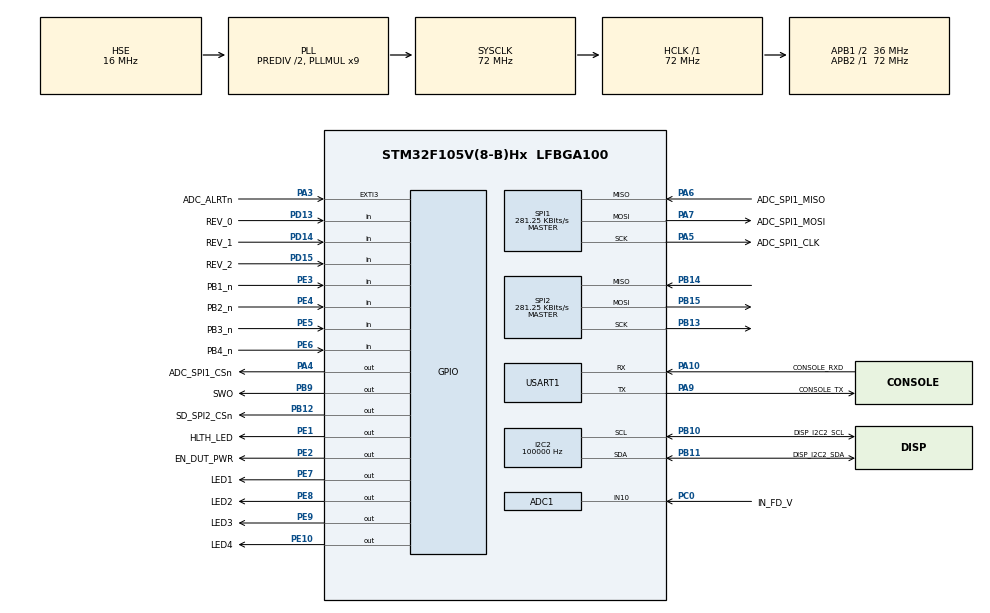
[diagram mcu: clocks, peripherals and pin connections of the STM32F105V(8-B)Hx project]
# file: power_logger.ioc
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ADC1.Channel-0\#ChannelRegularConversion=ADC_CHANNEL_10
ADC1.NbrOfConversionFlag=1
ADC1.Rank-0\#ChannelRegularConversion=1
ADC1.SamplingTime-0\#ChannelRegularConversion=ADC_SAMPLETIME_1CYCLE_5
ADC1.master=1
FATFS._MAX_SS=4096
FATFS._USE_LFN=1
I2C2.ClockSpeed=100000
I2C2.I2C_Mode=I2C_Standard
Mcu.Family=STM32F1
Mcu.Name=STM32F105V(8-B)Hx
Mcu.Package=LFBGA100
NVIC.PriorityGroup=NVIC_PRIORITYGROUP_4
NVIC.TIM6_IRQn=true\:0\:0\:false\:false\:true\:true\:true
OSC_IN.Mode=HSE-External-Oscillator
OSC_IN.Signal=RCC_OSC_IN
OSC_OUT.Mode=HSE-External-Oscillator
OSC_OUT.Signal=RCC_OSC_OUT
PA10.GPIO_Label=CONSOLE_RXD
PA10.Mode=Asynchronous
PA10.Signal=USART1_RX
PA13.GPIO_Label=SWDIO
PA13.Mode=Trace_Asynchronous_SW
PA13.Signal=SYS_JTMS-SWDIO
PA14.GPIO_Label=SWCLK
PA14.Mode=Trace_Asynchronous_SW
PA14.Signal=SYS_JTCK-SWCLK
PA3.GPIO_Label=ADC_ALRTn
PA3.GPIO_ModeDefaultEXTI=GPIO_MODE_IT_FALLING
PA3.Signal=GPXTI3
PA4.GPIO_Label=ADC_SPI1_CSn
PA4.Signal=GPIO_Output
PA5.GPIO_Label=ADC_SPI1_CLK
PA5.Mode=Full_Duplex_Master
PA5.Signal=SPI1_SCK
PA6.GPIO_Label=ADC_SPI1_MISO
PA6.Mode=Full_Duplex_Master
PA6.Signal=SPI1_MISO
PA7.GPIO_Label=ADC_SPI1_MOSI
PA7.Mode=Full_Duplex_Master
PA7.Signal=SPI1_MOSI
PA9.GPIO_Label=CONSOLE_TX
PA9.Mode=Asynchronous
PA9.Signal=USART1_TX
PB10.GPIO_Label=DISP_I2C2_SCL
PB10.GPIO_Pu=GPIO_PULLUP
PB10.Mode=I2C
PB10.Signal=I2C2_SCL
PB11.GPIO_Label=DISP_I2C2_SDA
PB11.GPIO_Pu=GPIO_PULLUP
PB11.Mode=I2C
PB11.Signal=I2C2_SDA
PB12.GPIO_Label=SD_SPI2_CSn
PB12.GPIO_Speed=GPIO_SPEED_FREQ_HIGH
PB12.Signal=GPIO_Output
PB13.GPIO_Mode=GPIO_MODE_AF_PP
PB13.GPIO_Speed=GPIO_SPEED_FREQ_HIGH
PB13.Mode=Full_Duplex_Master
PB13.Signal=SPI2_SCK
PB14.GPIO_Mode=GPIO_MODE_INPUT
PB14.GPIO_PuPd=GPIO_NOPULL
PB14.Mode=Full_Duplex_Master
PB14.Signal=SPI2_MISO
PB15.GPIO_Mode=GPIO_MODE_AF_PP
PB15.GPIO_Speed=GPIO_SPEED_FREQ_HIGH
PB15.Mode=Full_Duplex_Master
PB15.Signal=SPI2_MOSI
PB3.Mode=Trace_Asynchronous_SW
PB3.Signal=SYS_TRACESWO
PB9.GPIO_Label=SWO
PB9.Signal=GPIO_Output
PC0.GPIO_Label=IN_FD_V
PC0.GPIO_Mode=GPIO_MODE_ANALOG
PC0.Signal=ADCx_IN10
PD13.GPIO_Label=REV_0
PD13.Signal=GPIO_Input
PD14.GPIO_Label=REV_1
PD14.Signal=GPIO_Input
PD15.GPIO_Label=REV_2
PD15.Signal=GPIO_Input
PE1.GPIO_Label=HLTH_LED
PE1.GPIO_ModeDefaultOutputPP=GPIO_MODE_OUTPUT_OD
PE1.GPIO_Speed=GPIO_SPEED_FREQ_LOW
PE1.Signal=GPIO_Output
PE10.GPIO_Label=LED4
PE10.Signal=GPIO_Output
PE2.GPIO_Label=EN_DUT_PWR
PE2.Signal=GPIO_Output
PE3.GPIO_Label=PB1_n
PE3.Signal=GPIO_Input
PE4.GPIO_Label=PB2_n
PE4.Signal=GPIO_Input
PE5.GPIO_Label=PB3_n
PE5.Signal=GPIO_Input
PE6.GPIO_Label=PB4_n
PE6.Signal=GPIO_Input
PE7.GPIO_Label=LED1
PE7.Signal=GPIO_Output
PE8.GPIO_Label=LED2
PE8.Signal=GPIO_Output
PE9.GPIO_Label=LED3
PE9.Signal=GPIO_Output
ProjectManager.HeapSize=0x200
ProjectManager.StackSize=0x400
ProjectManager.TargetToolchain=STM32CubeIDE
RCC.ADCPresc=RCC_ADCPCLK2_DIV6
RCC.AHBFreq_Value=72000000
RCC.APB1CLKDivider=RCC_HCLK_DIV2
RCC.APB1Freq_Value=36000000
RCC.APB1TimFreq_Value=72000000
RCC.APB2Freq_Value=72000000
RCC.APB2TimFreq_Value=72000000
RCC.HCLKFreq_Value=72000000
RCC.HSEDivPLL=RCC_HSE_PREDIV_DIV2
RCC.HSE_VALUE=16000000
RCC.PLLMUL=RCC_PLL_MUL9
RCC.PLLSourceVirtual=RCC_PLLSOURCE_HSE
RCC.SYSCLKFreq_VALUE=72000000
RCC.SYSCLKSource=RCC_SYSCLKSOURCE_PLLCLK
RCC.USBFreq_Value=48000000
SH.ADCx_IN10.0=ADC1_IN10,IN10
SPI1.BaudRatePrescaler=SPI_BAUDRATEPRESCALER_256
SPI1.CLKPhase=SPI_PHASE_1EDGE
SPI1.CalculateBaudRate=281.25 KBits/s
SPI1.Direction=SPI_DIRECTION_2LINES
SPI1.Mode=SPI_MODE_MASTER
SPI1.VirtualType=VM_MASTER
SPI2.BaudRatePrescaler=SPI_BAUDRATEPRESCALER_128
SPI2.CalculateBaudRate=281.25 KBits/s
SPI2.Direction=SPI_DIRECTION_2LINES
SPI2.Mode=SPI_MODE_MASTER
SPI2.VirtualType=VM_MASTER
TIM2.Channel-Output\ Compare1\ No\ Output=TIM_CHANNEL_1
TIM2.Prescaler=71
TIM3.Channel-Output\ Compare1\ No\ Output=TIM_CHANNEL_1
TIM3.Prescaler=71
TIM6.AutoReloadPreload=TIM_AUTORELOAD_PRELOAD_ENABLE
TIM6.Period=720-1
TIM6.Prescaler=1000-1
USART1.VirtualMode=VM_ASYNC
VP_FATFS_VS_Generic.Mode=User_defined
VP_TIM2_VS_ClockSourceINT.Mode=Internal
VP_TIM2_VS_no_output1.Mode=Output Compare1 No Output
VP_TIM3_VS_no_output1.Mode=Output Compare1 No Output
VP_TIM6_VS_ClockSourceINT.Mode=Enable_Timer
board=custom

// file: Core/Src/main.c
/* USER CODE BEGIN Header */
/**
  ******************************************************************************
  * @file           : main.c
  * @brief          : Main program body
  ******************************************************************************
  * @attention
  *
  * <h2><center>&copy; Copyright (c) 2021 STMicroelectronics.
  * All rights reserved.</center></h2>
  *
  * This software component is licensed by ST under BSD 3-Clause license,
  * the "License"; You may not use this file except in compliance with the
  * License. You may obtain a copy of the License at:
  *                        opensource.org/licenses/BSD-3-Clause
  *
  * TODO finish --> switch (btn.button_press_status
  *
  ******************************************************************************
  */
/* USER CODE END Header */
#include "main.h"
#include "fatfs.h"

/* USER CODE BEGIN PTD */
struct timing       time;
struct oled         oled;
struct buttonStruct btn;
ad4681Data          a2d;
errorCode           err_code;
AppState            current_state = STATE_IDLE;

/* USER CODE END PTD */

/* USER CODE BEGIN PD */

#define LOGO_HEIGHT   16
#define LOGO_WIDTH    16

static const unsigned char logo_bmp[] =
{ 0b00000000, 0b11000000,
  0b00000001, 0b11000000,
  0b00000001, 0b11000000,
  0b00000011, 0b11100000,
  0b11110011, 0b11100000,
  0b11111110, 0b11111000,
  0b01111110, 0b11111111,
  0b00110011, 0b10011111,
  0b00011111, 0b11111100,
  0b00001101, 0b01110000,
  0b00011011, 0b10100000,
  0b00111111, 0b11100000,
  0b00111111, 0b11110000,
  0b01111100, 0b11110000,
  0b01110000, 0b01110000,
  0b00000000, 0b00110000 };

/* USER CODE END PD */

ADC_HandleTypeDef hadc1;

I2C_HandleTypeDef hi2c2;

SPI_HandleTypeDef hspi1;
SPI_HandleTypeDef hspi2;

TIM_HandleTypeDef htim2;
TIM_HandleTypeDef htim3;
TIM_HandleTypeDef htim6;

UART_HandleTypeDef huart1;

void SystemClock_Config(void);
static void MX_GPIO_Init(void);
static void MX_ADC1_Init(void);
static void MX_I2C2_Init(void);
static void MX_USART1_UART_Init(void);
static void MX_SPI1_Init(void);
static void MX_TIM2_Init(void);
static void MX_SPI2_Init(void);
static void MX_TIM3_Init(void);
static void MX_TIM6_Init(void);

/* USER CODE BEGIN 0 */

/**
 * @brief This function overwrites the
 * lower-level function that printf()
 * leverages for the purpose of
 * redirecting printf() output
 * to the SWV Data console. This allows
 * printf() data to be printed to the SWV
 * console during debugging
 *
 * @param ptr -- Point to data that is
 *              to be printed
 *              to the screen
 * @param len -- character passed in
 */
int _write(int file, char *ptr, int len)
 {
	 int DataIdx;
	 for (DataIdx = 0; DataIdx < len; DataIdx++)
	 {
		 ITM_SendChar(*ptr++);
	 }
	 return len;
 }

/* USER CODE END 0 */

int main(void)
{

  /* MCU Configuration--------------------------------------------------------*/

  /* Reset of all peripherals, Initializes the Flash interface and the Systick. */
  HAL_Init();

  /* USER CODE BEGIN Init */

  /* Configure time keeping flags */
  time.led_fast_blink = false;
  time.flag_10ms_tick = false;
  time.flag_100ms_tick = false;
  time.flag_500ms_tick = false;

  /* Configure button-related flags */
  btn.up_btn_press_ctr = 0;
  btn.rt_btn_press_ctr = 0;
  btn.dn_btn_press_ctr = 0;
  btn.lt_btn_press_ctr = 0;

  btn.button_press_status = NO_BTN_PUSHED;

  /* USER CODE END Init */

  /* Configure the system clock */
  SystemClock_Config();

  /* Initialize all configured peripherals */
  MX_GPIO_Init();
  MX_ADC1_Init();
  MX_I2C2_Init();
  MX_FATFS_Init();
  MX_USART1_UART_Init();
  MX_SPI1_Init();
  MX_TIM2_Init();
  MX_SPI2_Init();
  MX_TIM3_Init();
  MX_TIM6_Init();
  /* USER CODE BEGIN 2 */

  // print_string("Chip Reset.",LF);
  // print_16b_binary_rep(255,LF);
  // print_float(3.14159,LF);

//  HAL_TIM_Base_Start(&htim2);			// Start timer #2 for us delay timer
  HAL_TIM_Base_Start_IT(&htim6);
//  init_ad4681 ( &a2d );                 // Initialize the A2D

/**
 * Display
 * TODO Display Test Start
 */

  //TODO Display test code
  setFont(&FreeSans9pt7b);
  setTextSize(1,1);             // 21 characters per line
  display_oled_init(SSD1306_SWITCHCAPVCC, SCREEN_WIDTH, SCREEN_HEIGHT);
  updateDisplay();
  // HAL_Delay(1000);

  // setCursor(0,15);
  // writeOledString("Print Float...\n", SSD1306_WHITE);
  // writeOledFloat(3.1415, SSD1306_WHITE);
  // updateDisplay();
  // HAL_Delay(2500);

  // oled_clear_buffer();
  // setCursor(0,15);
  // // writeOledString(" \n", SSD1306_WHITE);
  // writeOledString("Hello Awesome\n", SSD1306_WHITE);
  // writeOledString("World!", SSD1306_WHITE);
  // updateDisplay();

  // HAL_Delay(2500);
  oled_clear_buffer();
  setCursor(0,15);
  writeOledString("Let's Go\n", SSD1306_WHITE);
  writeOledString("Brandon!!", SSD1306_WHITE);
  updateDisplay();
  HAL_Delay(1000);
  /**
   * TODO END Display Test Code
   *
   */

  //TODO START A2D Test Code
  /**
   * Initialization for the
   * A2D IC
  */
  HAL_GPIO_WritePin(ADC_SPI1_CSn_GPIO_Port, ADC_SPI1_CSn_Pin, GPIO_PIN_SET);
  HAL_Delay(1);
  init_ad4681(&a2d);
  HAL_GPIO_WritePin(EN_DUT_PWR_GPIO_Port, EN_DUT_PWR_Pin, GPIO_PIN_SET);  //TODO turning the relay on here for test
  // get_ad4681_samples( &a2d );

  // setCursor(0,15);
  // writeOledString("Volt: ", SSD1306_WHITE);
  // writeOledFloat(a2d.voltage_f, SSD1306_WHITE);
  // writeOledString("\n", SSD1306_WHITE);
  // writeOledString("Curr: ", SSD1306_WHITE);
  // writeOledFloat(a2d.current_f, SSD1306_WHITE);
  // updateDisplay();
  //TODO END A2D Test Code

//  oled.current_screen = SCREEN_MAIN;
  err_code.error_code = NO_ERROR;

  /**
   * TODO Begin SD CARD TEST
   *
   * In the following block of code we are testing
   * the ability to write to the SD card
  */

  //some variables for FatFs
  FATFS fs; 	//Fatfs handle
  FIL fil; 		//File handle
  FRESULT fres; //Result after operations

  HAL_Delay(500);
  fres = f_mount(&fs, "", 0);
  if (fres != FR_OK) {
    // err_code.error_code = fres;       //Look this up in ff.h!
    err_code.error_code = 1;       //Look this up in ff.h!
    Error_Handler ();
  }
  // Now let's try to open file "test.txt"
  fres = f_open(&fil, "test.txt", FA_OPEN_ALWAYS | FA_WRITE | FA_READ);
  if (fres != FR_OK) {
      // err_code.error_code = fes;       //Look this up in ff.h!
      err_code.error_code = 2;       //Look this up in ff.h!
      Error_Handler ();
  }

  // Find the appropriate location to write in the file
  fres = f_lseek(&fil, fil.fsize);
  if (fres != FR_OK) {
      // err_code.error_code = fres;       //Look this up in ff.h!
      err_code.error_code = 3;       //Look this up in ff.h!
      Error_Handler ();
  }

  /**
   * Write a line to the file.
   * Returns EOF, not FRESULT!
   */
  f_puts("Hello from CJG!!\n", &fil);

  /* Close the file  */
  f_close(&fil);

  /**
   * Controllers Tech
   * Read From SD Card
   */

  /* Read from the SD card */
  char sd_rd_buff[100];

  fres = f_open(&fil, "read.txt", FA_READ);
  if (fres != FR_OK) {
      // err_code.error_code = fres;       //Look this up in ff.h!
      err_code.error_code = 50;       //Look this up in ff.h!
      Error_Handler ();
  }

 /* Read the data from the file */
  f_gets(sd_rd_buff, sizeof(sd_rd_buff), &fil);

  /* Now close the file after read */
  f_close(&fil);

  /* Print what was read from the buffer */
  oled_clear_buffer();
  setCursor(0,15);
  writeOledString("Read: \n", SSD1306_WHITE);
  writeOledString(sd_rd_buff, SSD1306_WHITE);
  updateDisplay();
  HAL_Delay(3000);

  /**
   * Let's get from statistics from
   * the SD card.
   * Source is Nizar Mohideen, but
   * identical to Controller Tech
   */
  FATFS *pfs;
  DWORD fre_clust;
  uint32_t totalSpace, freeSpace;

  f_getfree("", &fre_clust, &pfs);
  totalSpace = (uint32_t)((pfs->n_fatent - 2) * pfs->csize * 0.5);
  freeSpace = (uint32_t)(fre_clust * pfs->csize * 0.5);

  /* Print what was read from the buffer */
  oled_clear_buffer();
  setCursor(0,15);
  writeOledString("TS: ", SSD1306_WHITE);  writeOledDword(totalSpace, SSD1306_WHITE); writeOledString("\n", SSD1306_WHITE);
  writeOledString("FS: ", SSD1306_WHITE); writeOledDword(freeSpace, SSD1306_WHITE); writeOledString("\n", SSD1306_WHITE);
  updateDisplay();
  HAL_Delay(3000);

 /**
  * TODO END of SD CARD TEST
  * This is the ending block
  * where we have tested writing to
  * the SD card
  */

  /**
   */
  // TODO need to define bitmap image, screen width, and splash screen dimensions
  // display_oled_drawBitmap((oled.screen_width - BITMAP_WIDTH) / 2, (oled.screen_height - BITMAP_HEIGHT) / 2,
  //             oled.splash_screen_data, oled.splash_screen_width, oled.splash_screen_height, 1);

  // display_oled_drawBitmap(
  //   (oled.screen_width  - LOGO_WIDTH ) / 2,
  //   (oled.screen_height - LOGO_HEIGHT) / 2,
  //   logo_bmp, LOGO_WIDTH, LOGO_HEIGHT, 1);

  /* USER CODE END 2 */

  /* Infinite loop */
  /* USER CODE BEGIN WHILE */
  while (1)
  {

    if(time.flag_10ms_tick) {
      time.flag_10ms_tick = false;

      //TODO the following line is for testing only
//      HAL_I2C_Master_Transmit(&hi2c2, OLED_SCREEN_ADDRESS, (uint8_t *)0x00, 1, 10000);

      /* Grab Sensor Data */
      // get_ad4681_samples( &a2d );

      /* Log Sensor Data */
      // log_samples();

      /* Evaluate Button Inputs */
      // evaluate_button_inputs();

    }

    if(time.flag_100ms_tick) {
      time.flag_100ms_tick = false;

      /* Update Display */
      // update_screen();
    }

    if(time.flag_500ms_tick) {
      time.flag_500ms_tick = false;
      HAL_GPIO_TogglePin(HLTH_LED_GPIO_Port, HLTH_LED_Pin);
      // printf("Hello World!");
      get_ad4681_samples( &a2d );

      // oled_clear_buffer();
      // setCursor(0,15);
      // writeOledString("V: ", SSD1306_WHITE);
      // writeOledFloat(a2d.voltage_f, SSD1306_WHITE);
      // writeOledString("\n", SSD1306_WHITE);

      // writeOledString("A: ", SSD1306_WHITE);
      // writeOledFloat(a2d.current_f, SSD1306_WHITE);
      // writeOledString("\n", SSD1306_WHITE);
      // updateDisplay();

      //TODO when it comes time to toggle the relay, the following works!
      // if(HAL_GPIO_ReadPin(EN_DUT_PWR_GPIO_Port, EN_DUT_PWR_Pin)){
      //   HAL_GPIO_WritePin(EN_DUT_PWR_GPIO_Port, EN_DUT_PWR_Pin, GPIO_PIN_RESET);  //TODO this will deenergize the relying
      // }

      // else if(!HAL_GPIO_ReadPin(EN_DUT_PWR_GPIO_Port, EN_DUT_PWR_Pin)) {
      //   HAL_GPIO_WritePin(EN_DUT_PWR_GPIO_Port, EN_DUT_PWR_Pin, GPIO_PIN_SET);  //TODO this will throw the relay
      // }

    }
    // HAL_Delay(1000);
    // HAL_GPIO_TogglePin(EN_DUT_PWR_GPIO_Port, EN_DUT_PWR_Pin);  //TODO this works for toggling the relay!!

    /* USER CODE END WHILE */

  }
}

void SystemClock_Config(void)
{
  RCC_OscInitTypeDef RCC_OscInitStruct = {0};
  RCC_ClkInitTypeDef RCC_ClkInitStruct = {0};
  RCC_PeriphCLKInitTypeDef PeriphClkInit = {0};

  /** Initializes the RCC Oscillators according to the specified parameters
  * in the RCC_OscInitTypeDef structure.
  */
  RCC_OscInitStruct.OscillatorType = RCC_OSCILLATORTYPE_HSE;
  RCC_OscInitStruct.HSEState = RCC_HSE_ON;
  RCC_OscInitStruct.HSEPredivValue = RCC_HSE_PREDIV_DIV2;
  RCC_OscInitStruct.HSIState = RCC_HSI_ON;
  RCC_OscInitStruct.Prediv1Source = RCC_PREDIV1_SOURCE_HSE;
  RCC_OscInitStruct.PLL.PLLState = RCC_PLL_ON;
  RCC_OscInitStruct.PLL.PLLSource = RCC_PLLSOURCE_HSE;
  RCC_OscInitStruct.PLL.PLLMUL = RCC_PLL_MUL9;
  RCC_OscInitStruct.PLL2.PLL2State = RCC_PLL_NONE;
  if (HAL_RCC_OscConfig(&RCC_OscInitStruct) != HAL_OK)
  {
    Error_Handler();
  }
  /** Initializes the CPU, AHB and APB buses clocks
  */
  RCC_ClkInitStruct.ClockType = RCC_CLOCKTYPE_HCLK|RCC_CLOCKTYPE_SYSCLK
                              |RCC_CLOCKTYPE_PCLK1|RCC_CLOCKTYPE_PCLK2;
  RCC_ClkInitStruct.SYSCLKSource = RCC_SYSCLKSOURCE_PLLCLK;
  RCC_ClkInitStruct.AHBCLKDivider = RCC_SYSCLK_DIV1;
  RCC_ClkInitStruct.APB1CLKDivider = RCC_HCLK_DIV2;
  RCC_ClkInitStruct.APB2CLKDivider = RCC_HCLK_DIV1;

  if (HAL_RCC_ClockConfig(&RCC_ClkInitStruct, FLASH_LATENCY_2) != HAL_OK)
  {
    Error_Handler();
  }
  PeriphClkInit.PeriphClockSelection = RCC_PERIPHCLK_ADC;
  PeriphClkInit.AdcClockSelection = RCC_ADCPCLK2_DIV6;
  if (HAL_RCCEx_PeriphCLKConfig(&PeriphClkInit) != HAL_OK)
  {
    Error_Handler();
  }
  /** Configure the Systick interrupt time
  */
  __HAL_RCC_PLLI2S_ENABLE();
}

static void MX_ADC1_Init(void)
{

  ADC_ChannelConfTypeDef sConfig = {0};

  /** Common config
  */
  hadc1.Instance = ADC1;
  hadc1.Init.ScanConvMode = ADC_SCAN_DISABLE;
  hadc1.Init.ContinuousConvMode = DISABLE;
  hadc1.Init.DiscontinuousConvMode = DISABLE;
  hadc1.Init.ExternalTrigConv = ADC_SOFTWARE_START;
  hadc1.Init.DataAlign = ADC_DATAALIGN_RIGHT;
  hadc1.Init.NbrOfConversion = 1;
  if (HAL_ADC_Init(&hadc1) != HAL_OK)
  {
    Error_Handler();
  }
  /** Configure Regular Channel
  */
  sConfig.Channel = ADC_CHANNEL_10;
  sConfig.Rank = ADC_REGULAR_RANK_1;
  sConfig.SamplingTime = ADC_SAMPLETIME_1CYCLE_5;
  if (HAL_ADC_ConfigChannel(&hadc1, &sConfig) != HAL_OK)
  {
    Error_Handler();
  }

}

static void MX_I2C2_Init(void)
{

  hi2c2.Instance = I2C2;
  hi2c2.Init.ClockSpeed = 100000;
  hi2c2.Init.DutyCycle = I2C_DUTYCYCLE_2;
  hi2c2.Init.OwnAddress1 = 0;
  hi2c2.Init.AddressingMode = I2C_ADDRESSINGMODE_7BIT;
  hi2c2.Init.DualAddressMode = I2C_DUALADDRESS_DISABLE;
  hi2c2.Init.OwnAddress2 = 0;
  hi2c2.Init.GeneralCallMode = I2C_GENERALCALL_DISABLE;
  hi2c2.Init.NoStretchMode = I2C_NOSTRETCH_DISABLE;
  if (HAL_I2C_Init(&hi2c2) != HAL_OK)
  {
    Error_Handler();
  }

}

static void MX_SPI1_Init(void)
{

  /* SPI1 parameter configuration*/
  hspi1.Instance = SPI1;
  hspi1.Init.Mode = SPI_MODE_MASTER;
  hspi1.Init.Direction = SPI_DIRECTION_2LINES;
  hspi1.Init.DataSize = SPI_DATASIZE_8BIT;
  hspi1.Init.CLKPolarity = SPI_POLARITY_LOW;
  hspi1.Init.CLKPhase = SPI_PHASE_1EDGE;
  hspi1.Init.NSS = SPI_NSS_SOFT;
  hspi1.Init.BaudRatePrescaler = SPI_BAUDRATEPRESCALER_256;
  hspi1.Init.FirstBit = SPI_FIRSTBIT_MSB;
  hspi1.Init.TIMode = SPI_TIMODE_DISABLE;
  hspi1.Init.CRCCalculation = SPI_CRCCALCULATION_DISABLE;
  hspi1.Init.CRCPolynomial = 10;
  if (HAL_SPI_Init(&hspi1) != HAL_OK)
  {
    Error_Handler();
  }

}

static void MX_SPI2_Init(void)
{

  /* SPI2 parameter configuration*/
  hspi2.Instance = SPI2;
  hspi2.Init.Mode = SPI_MODE_MASTER;
  hspi2.Init.Direction = SPI_DIRECTION_2LINES;
  hspi2.Init.DataSize = SPI_DATASIZE_8BIT;
  hspi2.Init.CLKPolarity = SPI_POLARITY_LOW;
  hspi2.Init.CLKPhase = SPI_PHASE_1EDGE;
  hspi2.Init.NSS = SPI_NSS_SOFT;
  hspi2.Init.BaudRatePrescaler = SPI_BAUDRATEPRESCALER_128;
  hspi2.Init.FirstBit = SPI_FIRSTBIT_MSB;
  hspi2.Init.TIMode = SPI_TIMODE_DISABLE;
  hspi2.Init.CRCCalculation = SPI_CRCCALCULATION_DISABLE;
  hspi2.Init.CRCPolynomial = 10;
  if (HAL_SPI_Init(&hspi2) != HAL_OK)
  {
    Error_Handler();
  }

}

static void MX_TIM2_Init(void)
{

  TIM_ClockConfigTypeDef sClockSourceConfig = {0};
  TIM_MasterConfigTypeDef sMasterConfig = {0};
  TIM_OC_InitTypeDef sConfigOC = {0};

  htim2.Instance = TIM2;
  htim2.Init.Prescaler = 71;
  htim2.Init.CounterMode = TIM_COUNTERMODE_UP;
  htim2.Init.Period = 65535;
  htim2.Init.ClockDivision = TIM_CLOCKDIVISION_DIV1;
  htim2.Init.AutoReloadPreload = TIM_AUTORELOAD_PRELOAD_DISABLE;
  if (HAL_TIM_Base_Init(&htim2) != HAL_OK)
  {
    Error_Handler();
  }
  sClockSourceConfig.ClockSource = TIM_CLOCKSOURCE_INTERNAL;
  if (HAL_TIM_ConfigClockSource(&htim2, &sClockSourceConfig) != HAL_OK)
  {
    Error_Handler();
  }
  if (HAL_TIM_OC_Init(&htim2) != HAL_OK)
  {
    Error_Handler();
  }
  sMasterConfig.MasterOutputTrigger = TIM_TRGO_RESET;
  sMasterConfig.MasterSlaveMode = TIM_MASTERSLAVEMODE_DISABLE;
  if (HAL_TIMEx_MasterConfigSynchronization(&htim2, &sMasterConfig) != HAL_OK)
  {
    Error_Handler();
  }
  sConfigOC.OCMode = TIM_OCMODE_TIMING;
  sConfigOC.Pulse = 0;
  sConfigOC.OCPolarity = TIM_OCPOLARITY_HIGH;
  sConfigOC.OCFastMode = TIM_OCFAST_DISABLE;
  if (HAL_TIM_OC_ConfigChannel(&htim2, &sConfigOC, TIM_CHANNEL_1) != HAL_OK)
  {
    Error_Handler();
  }

}

static void MX_TIM3_Init(void)
{

  TIM_MasterConfigTypeDef sMasterConfig = {0};
  TIM_OC_InitTypeDef sConfigOC = {0};

  htim3.Instance = TIM3;
  htim3.Init.Prescaler = 71;
  htim3.Init.CounterMode = TIM_COUNTERMODE_UP;
  htim3.Init.Period = 65535;
  htim3.Init.ClockDivision = TIM_CLOCKDIVISION_DIV1;
  htim3.Init.AutoReloadPreload = TIM_AUTORELOAD_PRELOAD_DISABLE;
  if (HAL_TIM_OC_Init(&htim3) != HAL_OK)
  {
    Error_Handler();
  }
  sMasterConfig.MasterOutputTrigger = TIM_TRGO_RESET;
  sMasterConfig.MasterSlaveMode = TIM_MASTERSLAVEMODE_DISABLE;
  if (HAL_TIMEx_MasterConfigSynchronization(&htim3, &sMasterConfig) != HAL_OK)
  {
    Error_Handler();
  }
  sConfigOC.OCMode = TIM_OCMODE_TIMING;
  sConfigOC.Pulse = 0;
  sConfigOC.OCPolarity = TIM_OCPOLARITY_HIGH;
  sConfigOC.OCFastMode = TIM_OCFAST_DISABLE;
  if (HAL_TIM_OC_ConfigChannel(&htim3, &sConfigOC, TIM_CHANNEL_1) != HAL_OK)
  {
    Error_Handler();
  }

}

static void MX_TIM6_Init(void)
{

  TIM_MasterConfigTypeDef sMasterConfig = {0};

  htim6.Instance = TIM6;
  htim6.Init.Prescaler = 1000-1;
  htim6.Init.CounterMode = TIM_COUNTERMODE_UP;
  htim6.Init.Period = 720-1;
  htim6.Init.AutoReloadPreload = TIM_AUTORELOAD_PRELOAD_ENABLE;
  if (HAL_TIM_Base_Init(&htim6) != HAL_OK)
  {
    Error_Handler();
  }
  sMasterConfig.MasterOutputTrigger = TIM_TRGO_RESET;
  sMasterConfig.MasterSlaveMode = TIM_MASTERSLAVEMODE_DISABLE;
  if (HAL_TIMEx_MasterConfigSynchronization(&htim6, &sMasterConfig) != HAL_OK)
  {
    Error_Handler();
  }

}

static void MX_USART1_UART_Init(void)
{

  huart1.Instance = USART1;
  huart1.Init.BaudRate = 115200;
  huart1.Init.WordLength = UART_WORDLENGTH_8B;
  huart1.Init.StopBits = UART_STOPBITS_1;
  huart1.Init.Parity = UART_PARITY_NONE;
  huart1.Init.Mode = UART_MODE_TX_RX;
  huart1.Init.HwFlowCtl = UART_HWCONTROL_NONE;
  huart1.Init.OverSampling = UART_OVERSAMPLING_16;
  if (HAL_UART_Init(&huart1) != HAL_OK)
  {
    Error_Handler();
  }

}

static void MX_GPIO_Init(void)
{
  GPIO_InitTypeDef GPIO_InitStruct = {0};

  /* GPIO Ports Clock Enable */
  __HAL_RCC_GPIOE_CLK_ENABLE();
  __HAL_RCC_GPIOB_CLK_ENABLE();
  __HAL_RCC_GPIOA_CLK_ENABLE();
  __HAL_RCC_GPIOC_CLK_ENABLE();
  __HAL_RCC_GPIOD_CLK_ENABLE();

  /*Configure GPIO pin Output Level */
  HAL_GPIO_WritePin(GPIOE, EN_DUT_PWR_Pin|HLTH_LED_Pin|LED4_Pin|LED1_Pin
                          |LED2_Pin|LED3_Pin, GPIO_PIN_RESET);

  /*Configure GPIO pin Output Level */
  HAL_GPIO_WritePin(GPIOB, SWO_Pin|SD_SPI2_CSn_Pin, GPIO_PIN_RESET);

  /*Configure GPIO pin Output Level */
  HAL_GPIO_WritePin(ADC_SPI1_CSn_GPIO_Port, ADC_SPI1_CSn_Pin, GPIO_PIN_RESET);

  /*Configure GPIO pins : EN_DUT_PWR_Pin LED4_Pin LED1_Pin LED2_Pin
                           LED3_Pin */
  GPIO_InitStruct.Pin = EN_DUT_PWR_Pin|LED4_Pin|LED1_Pin|LED2_Pin
                          |LED3_Pin;
  GPIO_InitStruct.Mode = GPIO_MODE_OUTPUT_PP;
  GPIO_InitStruct.Pull = GPIO_NOPULL;
  GPIO_InitStruct.Speed = GPIO_SPEED_FREQ_LOW;
  HAL_GPIO_Init(GPIOE, &GPIO_InitStruct);

  /*Configure GPIO pin : SWO_Pin */
  GPIO_InitStruct.Pin = SWO_Pin;
  GPIO_InitStruct.Mode = GPIO_MODE_OUTPUT_PP;
  GPIO_InitStruct.Pull = GPIO_NOPULL;
  GPIO_InitStruct.Speed = GPIO_SPEED_FREQ_LOW;
  HAL_GPIO_Init(SWO_GPIO_Port, &GPIO_InitStruct);

  /*Configure GPIO pins : PB1_n_Pin PB2_n_Pin PB3_n_Pin PB4_n_Pin */
  GPIO_InitStruct.Pin = PB1_n_Pin|PB2_n_Pin|PB3_n_Pin|PB4_n_Pin;
  GPIO_InitStruct.Mode = GPIO_MODE_INPUT;
  GPIO_InitStruct.Pull = GPIO_NOPULL;
  HAL_GPIO_Init(GPIOE, &GPIO_InitStruct);

  /*Configure GPIO pin : HLTH_LED_Pin */
  GPIO_InitStruct.Pin = HLTH_LED_Pin;
  GPIO_InitStruct.Mode = GPIO_MODE_OUTPUT_OD;
  GPIO_InitStruct.Pull = GPIO_NOPULL;
  GPIO_InitStruct.Speed = GPIO_SPEED_FREQ_LOW;
  HAL_GPIO_Init(HLTH_LED_GPIO_Port, &GPIO_InitStruct);

  /*Configure GPIO pin : ADC_SPI1_CSn_Pin */
  GPIO_InitStruct.Pin = ADC_SPI1_CSn_Pin;
  GPIO_InitStruct.Mode = GPIO_MODE_OUTPUT_PP;
  GPIO_InitStruct.Pull = GPIO_NOPULL;
  GPIO_InitStruct.Speed = GPIO_SPEED_FREQ_LOW;
  HAL_GPIO_Init(ADC_SPI1_CSn_GPIO_Port, &GPIO_InitStruct);

  /*Configure GPIO pins : REV_2_Pin REV_1_Pin REV_0_Pin */
  GPIO_InitStruct.Pin = REV_2_Pin|REV_1_Pin|REV_0_Pin;
  GPIO_InitStruct.Mode = GPIO_MODE_INPUT;
  GPIO_InitStruct.Pull = GPIO_NOPULL;
  HAL_GPIO_Init(GPIOD, &GPIO_InitStruct);

  /*Configure GPIO pin : ADC_ALRTn_Pin */
  GPIO_InitStruct.Pin = ADC_ALRTn_Pin;
  GPIO_InitStruct.Mode = GPIO_MODE_IT_FALLING;
  GPIO_InitStruct.Pull = GPIO_NOPULL;
  HAL_GPIO_Init(ADC_ALRTn_GPIO_Port, &GPIO_InitStruct);

  /*Configure GPIO pin : SD_SPI2_CSn_Pin */
  GPIO_InitStruct.Pin = SD_SPI2_CSn_Pin;
  GPIO_InitStruct.Mode = GPIO_MODE_OUTPUT_PP;
  GPIO_InitStruct.Pull = GPIO_NOPULL;
  GPIO_InitStruct.Speed = GPIO_SPEED_FREQ_HIGH;
  HAL_GPIO_Init(SD_SPI2_CSn_GPIO_Port, &GPIO_InitStruct);

}

/* USER CODE BEGIN 4 */

/**
 * @brief Blocking delay,
 * blocks of 10ms
 *
 * @param ticks -- multiples of 10ms
 */
void blocking_delay_10ms_ticks (uint16_t ticks) {
  uint16_t i = 0;
  uint16_t tick = 0; //Used to lock time value
  for (i = ticks; i > 0; i--)
  {
      tick = time.ticks10ms;
      while (tick == time.ticks10ms);
  }
}

/**
 * @brief Blocking delay
 * blocks of 500ms
 *
 * @param ticks -- multiples of 500ns
 */
void blocking_delay_500ms_ticks(uint16_t ticks)
{
    uint16_t i = 0;
    uint16_t tick = 0; //Used to lock time value
    for (i = ticks; i > 0; i--)
    {
      tick = time.ticks500ms;
      while (tick == time.ticks500ms);
    }
}

/**
 * @brief Update screen implementation
 *
 */
void update_screen( void ) {

    char temp_string[32];        //Define the array that will hold the ASCII values
    char temp_number[8];        //Define the array that will hold the ASCII values

    /* USE SPRINT F TO BUILD THE ARRAY OF ASCII CHARACTERS */

  switch (oled.current_screen) {
    case SCREEN_MAIN:
      /* Clear Display */
      oled_clear_buffer();

      /* Set Larger Text Size for title */
      setTextSize(2,2);

      /* Write Title Line and Underscore */
      writeOledString("   MAIN  \n", SSD1306_WHITE);

      /* Smaller text size for underline */
      setTextSize(1,1);
      writeOledString("--------------------\n", SSD1306_WHITE);

      /* Print Current Voltage Value */
      memset(temp_string, '\0', 32);                  // Destination, Source, Size
      memset(temp_number, '\0', 8);
      strcat(temp_string,"Voltage: ");

      sprintf((char *)temp_number, "%.4f", a2d.voltage_f );   //f tells the function we want to print a float value

      strcat(temp_string, temp_number);
      strcat(temp_string, "\n");
      writeOledString(temp_string, SSD1306_WHITE);

       /* Print Current Current Value */
      memset(temp_string, '\0', 32);
      memset(temp_number, '\0', 8);
      strcat(temp_string, "Current: ");

      sprintf((char *)temp_number, "%.4f", a2d.current_f );   //f tells the function we want to print a float value

      strcat(temp_string, temp_number);
      strcat(temp_string, "\n");
      writeOledString(temp_string, SSD1306_WHITE);

       /* Print Current Power Value */
      memset(temp_string, '\0', 32);
      memset(temp_number, '\0', 8);
      strcat(temp_string, "Power: ");

      sprintf((char *)temp_number, "%.4f", a2d.power_f );   //f tells the function we want to print a float value

      strcat(temp_string, temp_number);
      strcat(temp_string, "\n");
      writeOledString(temp_string, SSD1306_WHITE);

       /* Indicate run status */
      memset(temp_string, '\0', 32);
      if(a2d.logging_status) {
        writeOledString("Running: True\n", SSD1306_WHITE);
      }
      else {
        writeOledString("Running: False\n", SSD1306_WHITE);
      }

      /**
       * Call function that pushes
       * local data buffer into RAM
       * of display
       */
      updateDisplay();

    break;

    case SCREEN_RUN_TIME_HR:
      /* Clear Display */
      oled_clear_buffer();

      /* Set Larger Text Size for title */
      setTextSize(2,2);

      /* Write Title Line and Underscore */
      writeOledString("  HOURS  \n", SSD1306_WHITE);

      /* Smaller text size for underline */
      setTextSize(1,1);
      writeOledString("--------------------\n", SSD1306_WHITE);

      /* Indicate run-time in hours*/
      memset(temp_string, '\0', 32);
      memset(temp_number, '\0', 8);
      strcat(temp_string, ">Run Time (hr): ");

      sprintf((char *)temp_number, "%.4f", a2d.run_time_hr );   //f tells the function we want to print a float value

      strcat(temp_string, temp_number);
      strcat(temp_string, "\n");

      writeOledString(temp_string, SSD1306_WHITE);

      /**
       * Call function that pushes
       * local data buffer into RAM
       * of display
       */
      updateDisplay();

    break;

    case SCREEN_RUN_TIME_MIN:
      /* Clear Display */
      oled_clear_buffer();

      /* Set Larger Text Size for title */
      setTextSize(2,2);

      /* Write Title Line and Underscore */
      writeOledString("   MINS  \n", SSD1306_WHITE);

      /* Smaller text size for underline */
      setTextSize(1,1);
      writeOledString("--------------------\n", SSD1306_WHITE);

      /* Indicate run-time in hours*/
      memset(temp_string, '\0', 32);
      memset(temp_number, '\0', 8);
      strcat((char*)temp_string, ">Run Time (min): ");

      sprintf((char *)temp_number, "%.4f", a2d.run_time_min );   //f tells the function we want to print a float value

      strcat(temp_string, temp_number);
      strcat(temp_string, "\n");

      writeOledString(temp_string, SSD1306_WHITE);

      /**
       * Call function that pushes
       * local data buffer into RAM
       * of display
       */
      updateDisplay();
    break;

    case SCREEN_SENSE_RESISTOR:
      /* Clear Display */
      oled_clear_buffer();

      /* Set Larger Text Size for title */
      setTextSize(2,2);

      /* Write Title Line and Underscore */
      writeOledString(" RESISTOR\n", SSD1306_WHITE);

      /* Smaller text size for underline */
      setTextSize(1,1);
      writeOledString("--------------------\n", SSD1306_WHITE);

      /* Indicate run-time in hours*/
      memset(temp_string, '\0', 32);
      memset(temp_number, '\0', 8);
      strcat(temp_string, ">Sense Res: ");

      sprintf((char *)temp_number, "%.4f", a2d.cs_res_f );   //f tells the function we want to print a float value

      strcat(temp_string, temp_number);
      strcat(temp_string, "\n");

      writeOledString(temp_string, SSD1306_WHITE);

      /**
       * Call function that pushes
       * local data buffer into RAM
       * of display
       */
      updateDisplay();
    break;

    case SCREEN_LOGGING:
     /* Clear Display */
      oled_clear_buffer();

      /* Set Larger Text Size for title */
      setTextSize(2,2);

      /* Write Title Line and Underscore */
      writeOledString(" LOGGING\n", SSD1306_WHITE);

      /* Smaller text size for underline */
      setTextSize(1,1);
      writeOledString("--------------------\n", SSD1306_WHITE);

      /* Indicate whether or not we are logging */
      memset(temp_string, '\0', 32);
      strcat(temp_string, ">Logging: ");

      if (a2d.logging_status == true){
        strcat(temp_string, " YES\n");
      }

      else {
        strcat(temp_string, " NO\n");
      }

      writeOledString(temp_string, SSD1306_WHITE);

      /* Indicate user instruction */
      writeOledString("Press right to enable...", SSD1306_WHITE);

      /**
       * Call function that pushes
       * local data buffer into RAM
       * of display
       */
      updateDisplay();

    break;

    default:
      /* Error, so print main screen */
      /* Clear Display */
      oled_clear_buffer();

      /* Set Larger Text Size for title */
      setTextSize(2,2);

      /* Write Title Line and Underscore */
      writeOledString("   MAIN  \n", SSD1306_WHITE);

      /* Smaller text size for underline */
      setTextSize(1,1);
      writeOledString("--------------------\n", SSD1306_WHITE);

      /* Print Current Voltage Value */
      memset(temp_string, '\0', 32);                  // Destination, Source, Size
      memset(temp_number, '\0', 8);
      strcat(temp_string, "Voltage: ");

      sprintf((char *)temp_number, "%.4f", a2d.voltage_f );   //f tells the function we want to print a float value

      strcat(temp_string, temp_number);
      strcat(temp_string, "\n");
      writeOledString(temp_string, SSD1306_WHITE);

        /* Print Current Current Value */
      memset(temp_string, '\0', 32);
      memset(temp_number, '\0', 8);
      strcat(temp_string, "Current: ");

      sprintf((char *)temp_number, "%.4f", a2d.current_f );   //f tells the function we want to print a float value

      strcat(temp_string, temp_number);
      strcat(temp_string, "\n");
      writeOledString(temp_string, SSD1306_WHITE);

        /* Print Current Power Value */
      memset(temp_string, '\0', 32);
      memset(temp_number, '\0', 8);
      strcat(temp_string, "Power: ");

      sprintf((char *)temp_number, "%.4f", a2d.power_f );   //f tells the function we want to print a float value

      strcat(temp_string, temp_number);
      strcat(temp_string, "\n");
      writeOledString(temp_string, SSD1306_WHITE);

        /* Indicate run status */
      memset(temp_string, '\0', 32);
      if(a2d.logging_status) {
        writeOledString("Running: True\n", SSD1306_WHITE);
      }
      else {
        writeOledString("Running: False\n", SSD1306_WHITE);
      }

      /**
       * Call function that pushes
       * local data buffer into RAM
       * of display
       */
      updateDisplay();

  }

}

// TODO this may not be needed.  Delete?
void evaluate_state ( void ) {
  // switch (current_state) {
  //   case (STATE_IDLE):
  //   break;

  //   case(STATE_GRAB_SENSOR_DATA):
  //   break;

  //   case(STATE_LOG_SAMPLES):
  //   break;

  //   case(STATE_UPDATE_DISPLAY):
  //     update_screen();
  //     current_state = STATE_IDLE;
  //   break;
  // }

  blocking_delay_10ms_ticks(1);
}

  // TODO need to implement
void log_samples( void ) {
  char temp_number[8];        //Define the array that will hold the ASCII values
  char temp_string[32];        //Define the array that will hold the ASCII values
  /**
   * @note If the elapsed time
   * is zero, then the first
   * sample has just been
   * read, and a new file
   * will need to be created
   */

  /**
   * @brief Describes how
   * CSV header shall look
   * VOLTAGE | CURRENT | POWER | uS BETWEEN SAMPLES
   */

  memset(temp_string, '\0', 32);                  // Destination, Source, Size
  memset(temp_number, '\0', 8);

  /* Add voltage to the string */
  sprintf((char *)temp_number, "%.4f", a2d.voltage_f);   //f tells the function we want to print a float value
  strcat(temp_string, temp_number);
  strcat(temp_string, ",");

  /* Add current to the string */
  memset(temp_number, '\0', 8);
  sprintf((char *)temp_number, "%.4f", a2d.current_f);   //f tells the function we want to print a float value
  strcat(temp_string, temp_number);
  strcat(temp_string, ",");

  /* Add power to the string */
  memset(temp_number, '\0', 8);
  sprintf((char *)temp_number, "%.4f", a2d.power_f);   //f tells the function we want to print a float value
  strcat(temp_string, temp_number);
  strcat(temp_string, ",");

  /* Add power to the string */
  memset(temp_number, '\0', 8);
  sprintf((char *)temp_number, "%u", a2d.time_us_elapsed);   //f tells the function we want to print a float value
  strcat(temp_string, temp_number);
  strcat(temp_string, "\n");

  /**
   * Now print this
   * information to the SD
   * card
   */

}

void evaluate_button_inputs ( void ) {

  /* Verify if up button has been pressed */
  if(HAL_GPIO_ReadPin(GPIOE, UP_BUTTON) && btn.button_press_status == NO_BTN_PUSHED) {
      if(btn.up_btn_press_ctr < BTN_DEBOUNCE_THRESHOLD) {
        btn.up_btn_press_ctr++;
      }
      if(btn.up_btn_press_ctr >= BTN_DEBOUNCE_THRESHOLD) {
        btn.button_press_status = UP_BUTTON;
      }

  }
  else {
    if(btn.up_btn_press_ctr > 0){
      if(btn.up_btn_press_ctr > 2){
        btn.up_btn_press_ctr -= 2;
      }
      else {
        btn.up_btn_press_ctr = 0;
      }
    }

  }

  /* Verify if rt button has been pressed */
  if(HAL_GPIO_ReadPin(GPIOE, RT_BUTTON) && btn.button_press_status == NO_BTN_PUSHED) {
      if(btn.rt_btn_press_ctr < BTN_DEBOUNCE_THRESHOLD) {
        btn.rt_btn_press_ctr++;
      }
      if(btn.rt_btn_press_ctr >= BTN_DEBOUNCE_THRESHOLD) {
        btn.button_press_status = RT_BTN_PUSHED;
      }

  }
  else {
    if(btn.rt_btn_press_ctr > 0){
      if(btn.rt_btn_press_ctr > 2){
        btn.rt_btn_press_ctr -= 2;
      }
      else {
        btn.rt_btn_press_ctr = 0;
      }
    }

  }

  /* Verify if dn button has been pressed */
  if(HAL_GPIO_ReadPin(GPIOE, DN_BUTTON) && btn.button_press_status == NO_BTN_PUSHED) {
      if(btn.dn_btn_press_ctr < BTN_DEBOUNCE_THRESHOLD) {
        btn.dn_btn_press_ctr++;
      }
      if(btn.dn_btn_press_ctr >= BTN_DEBOUNCE_THRESHOLD) {
        btn.button_press_status = DN_BTN_PUSHED;
      }

  }
  else {
    if(btn.dn_btn_press_ctr > 0){
      if(btn.dn_btn_press_ctr > 2){
        btn.dn_btn_press_ctr -= 2;
      }
      else {
        btn.dn_btn_press_ctr = 0;
      }
    }

  }

  /* Verify if lt button has been pressed */
  if(HAL_GPIO_ReadPin(GPIOE, LT_BUTTON) && btn.button_press_status == NO_BTN_PUSHED) {
      if(btn.lt_btn_press_ctr < BTN_DEBOUNCE_THRESHOLD) {
        btn.lt_btn_press_ctr++;
      }
      if(btn.lt_btn_press_ctr >= BTN_DEBOUNCE_THRESHOLD) {
        btn.button_press_status = LT_BTN_PUSHED;
      }

  }
  else {
    if(btn.lt_btn_press_ctr > 0){
      if(btn.lt_btn_press_ctr > 2){
        btn.lt_btn_press_ctr -= 2;
      }
      else {
        btn.lt_btn_press_ctr = 0;
      }
    }

  }

  /**
   * Process what button
   * was pressed
   */
  // TODO need to finish defining these!
  switch (btn.button_press_status) {
    case UP_BTN_PUSHED:
      if(oled.current_screen == SCREEN_RUN_TIME_HR){
        (a2d.run_time_hr < 12) ? (a2d.run_time_hr++) : (a2d.run_time_hr = 0);
      }

      else if(oled.current_screen == SCREEN_RUN_TIME_MIN){
        (a2d.run_time_min < 60) ? (a2d.run_time_min++) : (a2d.run_time_min = 0);

      }

      else if(oled.current_screen == SCREEN_SENSE_RESISTOR) {
        (a2d.cs_res_index < 2) ? (a2d.cs_res_index++) : (a2d.cs_res_index = 0);

        a2d.cs_res_f = a2d.sense_resistors[a2d.cs_res_index];
      }

      else if (oled.current_screen == SCREEN_LOGGING) {
        (a2d.logging_status == true) ? (a2d.logging_status = false) : (a2d.logging_status = true);
      }

    break;

    case DN_BTN_PUSHED:
      if(oled.current_screen == SCREEN_RUN_TIME_HR){
        (a2d.run_time_hr > 0) ? (a2d.run_time_hr--) : (a2d.run_time_hr = 12);
      }

      else if(oled.current_screen == SCREEN_RUN_TIME_MIN){
        (a2d.run_time_min > 0 ) ? (a2d.run_time_min--) : (a2d.run_time_min = 60);

      }

      else if(oled.current_screen == SCREEN_SENSE_RESISTOR) {
        (a2d.cs_res_index > 0) ? (a2d.cs_res_index--) : (a2d.cs_res_index = 2);

        a2d.cs_res_f = a2d.sense_resistors[a2d.cs_res_index];
      }

      else if (oled.current_screen == SCREEN_LOGGING) {
        (a2d.logging_status == true) ? (a2d.logging_status = false) : (a2d.logging_status = true);
      }

    break;

    case RT_BTN_PUSHED:
      (oled.current_screen < MAX_SCREEN_INDEX) ? (oled.current_screen++) : (oled.current_screen = 0);
    break;

    case LT_BTN_PUSHED:
      (oled.current_screen > 0) ? (oled.current_screen--) : (oled.current_screen =  MAX_SCREEN_INDEX);
    break;

    default:
      oled.current_screen = SCREEN_MAIN;
    break;
  }

  /* Button processing is complete, so reset button status*/
  btn.button_press_status = NO_BTN_PUSHED;

}

void HAL_TIM_PeriodElapsedCallback(TIM_HandleTypeDef *htim) {
	if(htim == &htim6){
	 	time.flag_10ms_tick = true;

     if(time.ticks10ms == 9) {
       time.ticks10ms = 0;
       time.flag_100ms_tick = true;

       if(time.ticks100ms == 4) {
         time.ticks100ms = 0;
         time.flag_500ms_tick = true;

         if(time.ticks500ms == 119)										// One minute worth of half seconds
           time.ticks500ms = 0;
         else
           time.ticks500ms += 1;
       }
       else {
           time.ticks100ms += 1;
       }
     }
     else {
       time.ticks10ms += 1;
     }

	}
}

/* USER CODE END 4 */

void Error_Handler(void)
{
  /* USER CODE BEGIN Error_Handler_Debug */
  /* User can add his own implementation to report the HAL error return state */
  __disable_irq();

  //TODO Need to clean this function up!!

  char temp_string[32];        //Define the array that will hold the ASCII values
  char temp_number[8];        //Define the array that will hold the ASCII values

  /* Clear memory arrays */
  memset(temp_string, '\0', 32);                  // Destination, Source, Size
  memset(temp_number, '\0', 8);

  /* Clear Display */
  oled_clear_buffer();

  /* Set text size and cursor position */
  setTextSize(1,1);
  setCursor(0,15);

  /* Write Title Line and Underscore */
  writeOledString("  ERROR \n", SSD1306_WHITE);

  /* Write underline */
  writeOledString("------------------\n", SSD1306_WHITE);

  /* Print the error code */
  strcat(temp_string, "ECODE: ");

  sprintf((char *)temp_number, "%u", err_code.error_code);   // %u indicates unsigned decimal

  strcat(temp_string, temp_number);
  strcat(temp_string, "\n");
  writeOledString(temp_string, SSD1306_WHITE);

  /**
   * Call function that pushes
   * local data buffer into RAM
   * of display
   */
  updateDisplay();

  while (1)
  {
  }
  /* USER CODE END Error_Handler_Debug */
}
